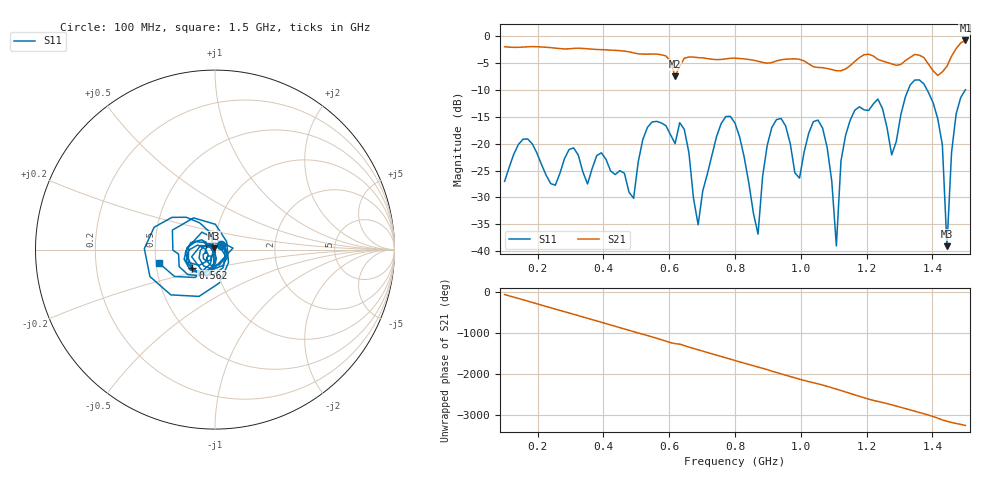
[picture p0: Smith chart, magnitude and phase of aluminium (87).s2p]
! NanoVNA-App
! Date: 2025-09-25 14:55:57
! Start: 100MHz Stop: 1,5GHz Points: 101
! S-Parameter data: F S11 S21 S12 S22
# Hz S RI R 50
!  Frequency  S11_Real  S11_Imag  S21_Real  S21_Imag  S12_Real  S12_Imag  S22_Real  S22_Imag
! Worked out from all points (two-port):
!   101 points, 100 MHz to 1.5 GHz, reference 50 ohm
!   highest |S21| = -0.74 dB at 1.5 GHz (marker M1); lowest = -7.4 dB at 618 MHz (marker M2)
!   |S21| within 3 dB of the highest: start of sweep to 591.8 MHz; 1.458 GHz to end of sweep (the widest 2 of 4)
!   lowest |S11| = -39.1 dB at 1.444 GHz (marker M3), VSWR 1.02, Z = 49.2 + j0.795 ohm
!   |S11| at or under -10 dB: start of sweep to 1.326 GHz; 1.384 GHz to 1.499 GHz (115.3 MHz wide, 8 % of centre)
!   S12 and S22 are empty: the file has one direction only
!   S11 on the Smith chart (normalised r, x): 100 MHz: 1.07, +0.06; 562 MHz: 0.76, -0.16; 1.5 GHz: 0.52, -0.09
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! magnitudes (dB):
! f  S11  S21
! 100 MHz  -27.0  -1.9
! 338 MHz  -25.3  -2.2
! 492 MHz  -30.1  -3.1
! 562 MHz  -15.8  -3.3
! 576 MHz  -16.1  -3.4
! 618 MHz  -20.0  -7.4
! 688 MHz  -35.1  -3.9
! 800 MHz  -16.2  -4.0
! 870 MHz  -36.8  -4.6
! 912 MHz  -16.9  -4.9
! 996 MHz  -26.4  -4.3
! 1.038 GHz  -15.9  -5.6
! 1.08 GHz  -20.7  -6.0
! 1.108 GHz  -39.0  -6.4
! 1.122 GHz  -23.2  -6.4
! 1.164 GHz  -13.7  -4.6
! 1.276 GHz  -22.1  -5.1
! 1.374 GHz  -8.8  -3.9
! 1.43 GHz  -20.2  -6.6
! 1.444 GHz  -39.1  -5.6
! 1.458 GHz  -21.6  -3.7
! 1.5 GHz  -9.9  -0.7
